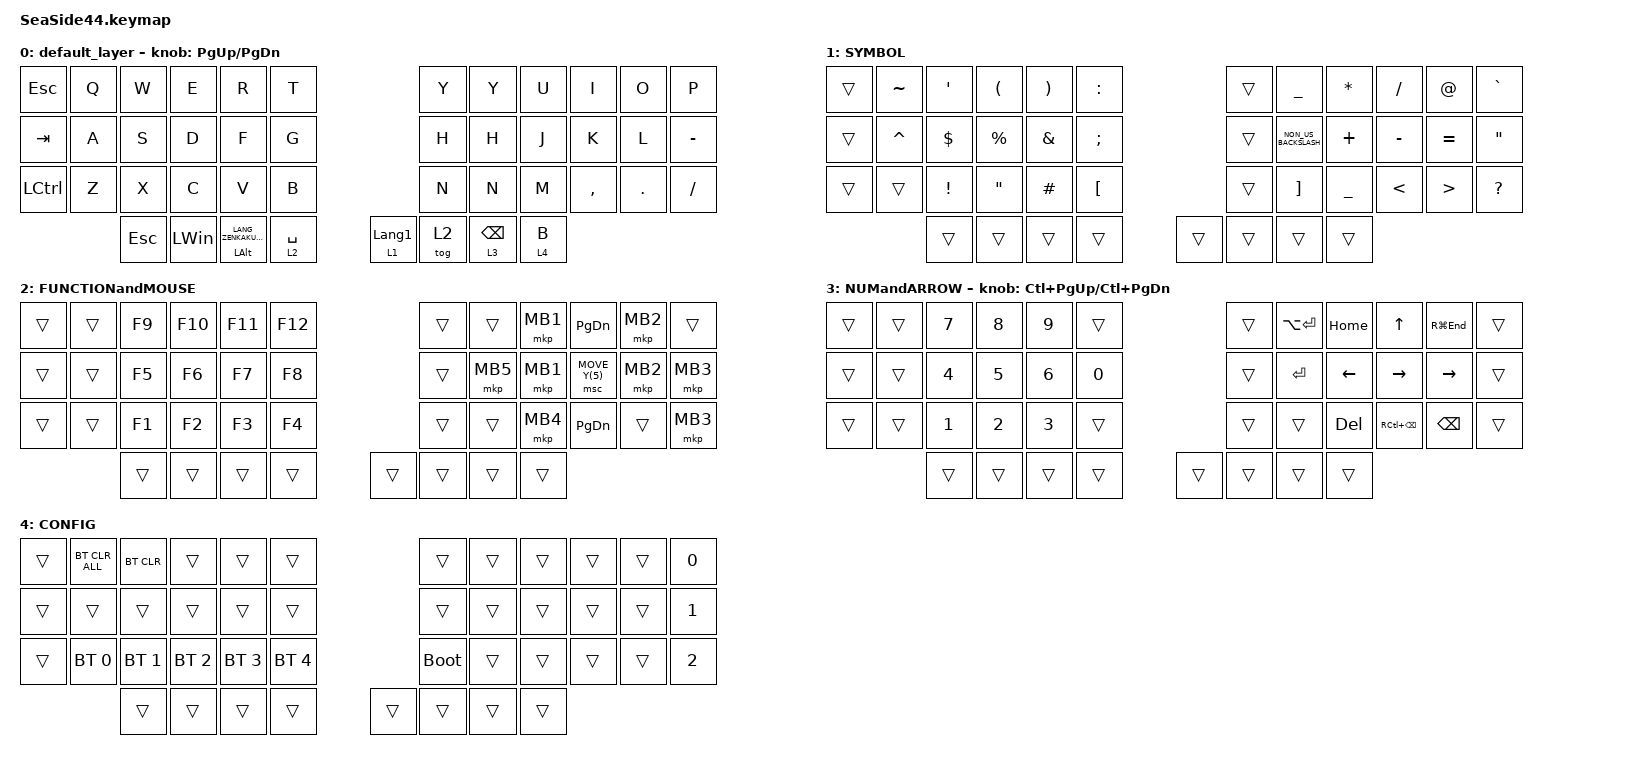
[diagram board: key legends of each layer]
#include <behaviors.dtsi>
#include <dt-bindings/zmk/bt.h>
#include <dt-bindings/zmk/keys.h>
#include <dt-bindings/zmk/pointing.h>

#define MOUSE 4
#define SCROLL 5
#define NUM 6

&mt {
    flavor = "balanced";
    quick-tap-ms = <300>;
};

&lt {
    flavor = "balanced";
    quick-tap-ms = <300>;
};

/ {
    combos { compatible = "zmk,combos"; };

    macros {
        to_layer_0: to_layer_0 {
            compatible = "zmk,behavior-macro-one-param";
            #binding-cells = <1>;
            bindings = <&to 0 &macro_param_1to1 &kp MACRO_PLACEHOLDER>;
            label = "TO_LAYER_0";
        };
    };

    behaviors {
        lt_to_layer_0: lt_to_layer_0 {
            compatible = "zmk,behavior-hold-tap";
            label = "LAYER_TAP_TO_0";
            bindings = <&mo>, <&to_layer_0>;

            #binding-cells = <2>;
            tapping-term-ms = <200>;
        };
    };

    keymap {
        compatible = "zmk,keymap";

        default_layer {
            bindings = <
&kp ESCAPE        &kp Q  &kp W       &kp E         &kp R                             &kp T                                    &kp Y            &kp Y  &kp U    &kp I      &kp O       &kp P
&kp TAB           &kp A  &kp S       &kp D         &kp F                             &kp G                                    &kp H            &kp H  &kp J    &kp K      &kp L       &kp MINUS
&kp LEFT_CONTROL  &kp Z  &kp X       &kp C         &kp V                             &kp B                                    &kp N            &kp N  &kp M    &kp COMMA  &kp PERIOD  &kp SLASH
                         &kp ESCAPE  &kp LEFT_WIN  &mt LEFT_ALT LANG_ZENKAKUHANKAKU  &lt 2 SPACE  &lt 1 LANGUAGE_1    &tog 2  &lt 3 BACKSPACE         &lt 4 B
            >;

            sensor-bindings = <&inc_dec_kp PG_UP PAGE_DOWN>;
        };

        SYMBOL {
            bindings = <
&trans  &kp TILDE  &kp SQT          &kp LEFT_PARENTHESIS  &kp RIGHT_PARENTHESIS  &kp COLON                           &trans  &kp UNDERSCORE        &kp ASTERISK    &kp SLASH      &kp AT_SIGN       &kp GRAVE
&trans  &kp CARET  &kp DOLLAR       &kp PERCENT           &kp AMPERSAND          &kp SEMICOLON                       &trans  &kp NON_US_BACKSLASH  &kp PLUS        &kp MINUS      &kp EQUAL         &kp DOUBLE_QUOTES
&trans  &trans     &kp EXCLAMATION  &kp DOUBLE_QUOTES     &kp HASH               &kp LEFT_BRACKET                    &trans  &kp RIGHT_BRACKET     &kp UNDERSCORE  &kp LESS_THAN  &kp GREATER_THAN  &kp QUESTION
                   &trans           &trans                &trans                 &trans            &trans    &trans  &trans                        &trans
            >;
        };

        FUNCTIONandMOUSE {
            bindings = <
&trans  &trans  &kp F9  &kp F10  &kp F11  &kp F12                    &trans  &trans    &mkp MB1  &kp PAGE_DOWN   &mkp MB2  &trans
&trans  &trans  &kp F5  &kp F6   &kp F7   &kp F8                     &trans  &mkp MB5  &mkp MB1  &msc MOVE_Y(5)  &mkp MB2  &mkp MB3
&trans  &trans  &kp F1  &kp F2   &kp F3   &kp F4                     &trans  &trans    &mkp MB4  &kp PAGE_DOWN   &trans    &mkp MB3
                &trans  &trans   &trans   &trans   &trans    &trans  &trans            &trans
            >;
        };

        NUMandARROW {
            bindings = <
&trans  &trans  &kp N7        &kp N8        &kp N9        &trans                    &trans  &kp LA(ENTER)  &kp HOME        &kp UP_ARROW       &kp RG(END)    &trans
&trans  &trans  &kp NUMBER_4  &kp N5        &kp NUMBER_6  &kp N0                    &trans  &kp ENTER      &kp LEFT_ARROW  &kp RIGHT_ARROW    &kp RIGHT      &trans
&trans  &trans  &kp NUMBER_1  &kp NUMBER_2  &kp NUMBER_3  &trans                    &trans  &trans         &kp DELETE      &kp RC(BACKSPACE)  &kp BACKSPACE  &trans
                &trans        &trans        &trans        &trans  &trans    &trans  &trans                 &trans
            >;

            sensor-bindings = <&inc_dec_kp LC(PAGE_UP) LC(PAGE_DOWN)>;
        };

        CONFIG {
            bindings = <
&trans  &bt BT_CLR_ALL  &bt BT_CLR    &trans        &trans        &trans                          &trans       &trans  &trans  &trans  &trans  &kp N0
&trans  &trans          &trans        &trans        &trans        &trans                          &trans       &trans  &trans  &trans  &trans  &kp N1
&trans  &bt BT_SEL 0    &bt BT_SEL 1  &bt BT_SEL 2  &bt BT_SEL 3  &bt BT_SEL 4                    &bootloader  &trans  &trans  &trans  &trans  &kp N2
                        &trans        &trans        &trans        &trans        &trans    &trans  &trans               &trans
            >;
        };
    };
};
